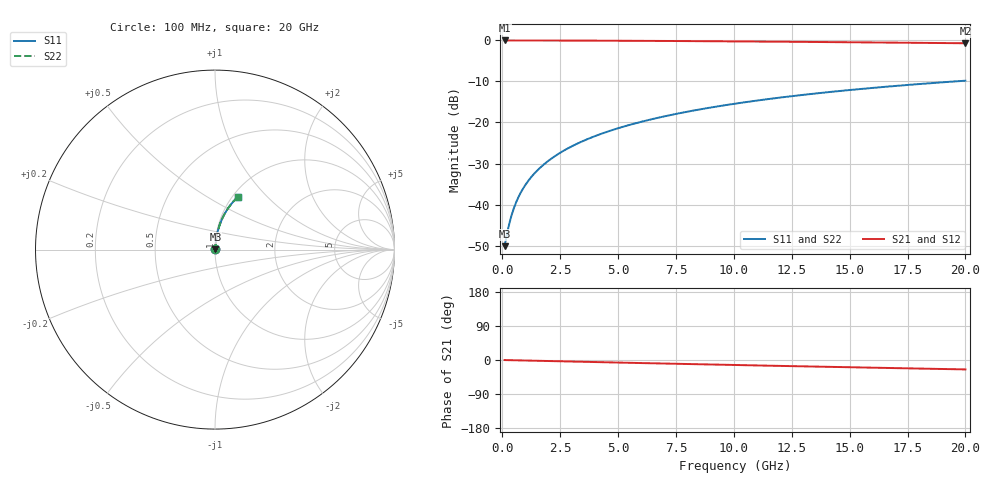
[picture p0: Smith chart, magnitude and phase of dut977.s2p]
! Touchstone file exported from HFSS 2024.1.0
!  File:  C:/UserFiles/LocalFiles/RDL_TSV_Batchsim/temp_RDL_bottom_977_1779943329.aedt
!  Generated:  12:45:08 PM May 28, 2026
!  Design:  RDL_bottom
!  Project:  temp_RDL_bottom_977_1779943329
!  Setup:  Setup1
!  Solution:  Sweep
! Variables:
!  dtsv = 10.80580581um
!  hbump = 3um
!  htsv = 95.14um
!  ldown = 275.07um
!  lrdl = 100um
!  p = 40
!  p1 = 48.46um
!  rhole = 1um
!  t = 450um
!  tdown = 3.82um
!  trdl = 3.915915916um
!  wdown = 10.31um
!  wrdl = 20um
# GHz S MA R 50.000000
! Terminal data exported
! Port[1] = RDL1_T1
! Port[2] = RDL1_T2
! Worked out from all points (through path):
!   200 points, 100 MHz to 20 GHz, reference 50 ohm
!   highest |S21| = -0.02 dB at 100 MHz (marker M1); lowest = -0.7 dB at 20 GHz (marker M2)
!   group delay of S21, straight-line fit = 3.45 ps
!   lowest |S11| = -50.1 dB at 100 MHz (marker M3), VSWR 1.01, Z = 50.3 + j0.176 ohm
!   |S11| at or under -10 dB: start of sweep to 19.55 GHz
!   |S22| runs from -50.1 to -9.8 dB; largest |S21 - S12| = 5.2e-15
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0.1  0.003113 34.2  0.9974 -0.1  0.9974 -0.1  0.003113 34.2
! Gamma 0 0 0 0
! Port Impedance 50 0 50 0
0.2  0.004341 53.1  0.9974 -0.3  0.9974 -0.3  0.004342 53.1
0.3  0.005821 63.0  0.9973 -0.4  0.9973 -0.4  0.005822 63.0
0.4  0.007404 68.7  0.9973 -0.6  0.9973 -0.6  0.007405 68.7
0.5  0.009036 72.4  0.9972 -0.7  0.9972 -0.7  0.009035 72.4
0.6  0.01069 74.9  0.9972 -0.8  0.9972 -0.8  0.01069 74.9
0.8  0.01404 78.0  0.997 -1.1  0.997 -1.1  0.01404 78.0
1.1  0.01909 80.5  0.9968 -1.5  0.9968 -1.5  0.01909 80.5
1.5  0.02584 82.1  0.9965 -2.1  0.9965 -2.1  0.02584 82.1
1.8  0.03091 82.7  0.9961 -2.5  0.9961 -2.5  0.0309 82.7
2.1  0.03598 83.1  0.9958 -2.9  0.9958 -2.9  0.03598 83.1
2.7  0.04613 83.3  0.9949 -3.7  0.9949 -3.7  0.04613 83.3
3.5  0.05967 83.2  0.9934 -4.8  0.9934 -4.8  0.05967 83.2
4.2  0.07151 82.9  0.9919 -5.7  0.9919 -5.7  0.07151 82.9
5  0.08503 82.3  0.9898 -6.8  0.9898 -6.8  0.08503 82.3
5.9  0.1002 81.6  0.9872 -7.9  0.9872 -7.9  0.1002 81.6
6.8  0.1153 80.8  0.9843 -9.1  0.9843 -9.1  0.1153 80.8
8.3  0.1404 79.3  0.9789 -11.0  0.9789 -11.0  0.1404 79.3
10.1  0.1702 77.4  0.9717 -13.3  0.9717 -13.3  0.1702 77.4
13.4  0.2234 73.7  0.9568 -17.3  0.9568 -17.3  0.2234 73.7
16.7  0.2744 70.0  0.9401 -21.1  0.9401 -21.1  0.2744 70.0
20  0.3226 66.4  0.922 -24.8  0.922 -24.8  0.3226 66.4
